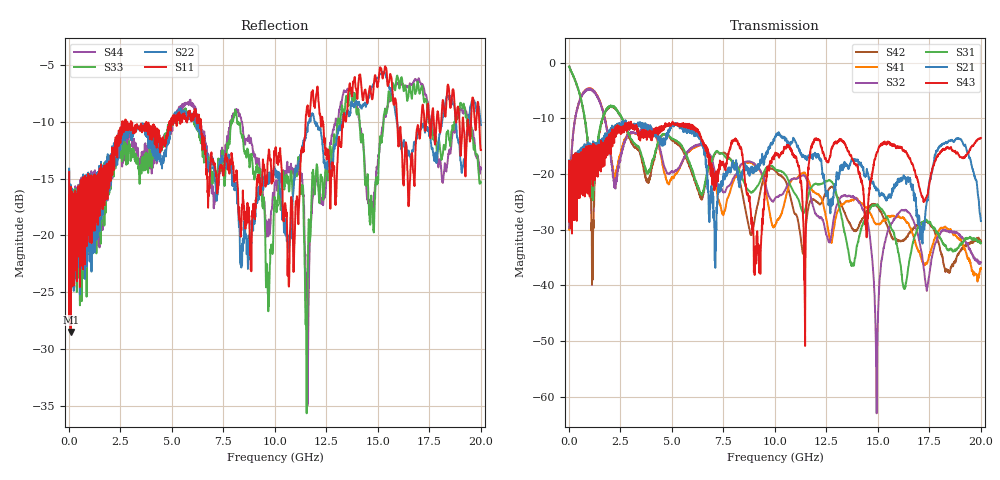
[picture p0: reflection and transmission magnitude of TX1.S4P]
# Hz S  RI  R 50
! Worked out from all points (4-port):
!   1601 points, 10 MHz to 20 GHz, reference 50 ohm
!   strongest paths, dB at 10 MHz, 5.008 GHz, 10.01 GHz, 15 GHz, 20 GHz:
!     S43: -17.7, -10.8, -16.7, -16.0, -13.6
!     S21: -17.6, -11.1, -13.3, -22.7, -28.5
!     S31: -0.7, -13.7, -19.1, -25.7, -32.4
!     S32: -29.6, -19.5, -24.4, -45.9, -35.8
!     S41: -30.0, -20.5, -29.1, -29.0, -36.9
!     S42: -0.7, -14.0, -19.4, -26.0, -32.2
!   lowest |S11| = -28.5 dB at 84.96 MHz (marker M1), VSWR 1.08, Z = 53.8 - j0.718 ohm
!   |S11| at or under -10 dB: start of sweep to 2.596 GHz; 3.01 GHz to 4.894 GHz (1.884 GHz wide, 47.7 % of centre); 6.398 GHz to 11.49 GHz (5.095 GHz wide, 57 % of centre)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
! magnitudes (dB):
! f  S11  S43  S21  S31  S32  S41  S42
! 10 MHz  -14.4  -17.7  -17.6  -0.7  -29.6  -30.0  -0.7
! 84.96 MHz  -28.5  -29.8  -29.4  -1.3  -19.1  -19.2  -1.3
! 1.134 GHz  -16.5  -17.9  -17.2  -24.0  -4.9  -4.9  -35.1
! 2.059 GHz  -14.2  -13.1  -12.2  -7.9  -17.5  -16.9  -8.0
! 13.92 GHz  -7.0  -18.3  -17.5  -34.8  -24.3  -24.4  -30.2
! 14.94 GHz  -6.5  -16.2  -22.5  -25.5  -63.0  -29.0  -25.7
! 20 GHz  -12.5  -13.6  -28.5  -32.4  -35.8  -36.9  -32.2
